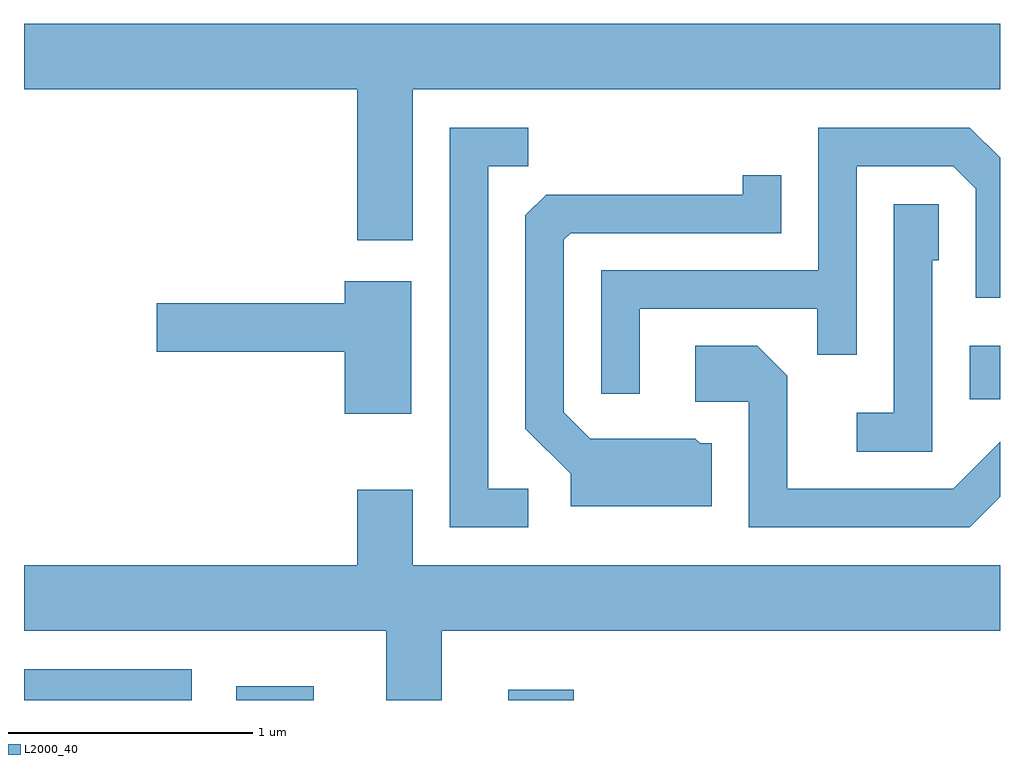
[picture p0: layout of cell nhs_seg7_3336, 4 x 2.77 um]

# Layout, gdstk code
import gdstk
lib = gdstk.Library(unit=1e-6, precision=1e-09)
def R(c, l, rs):  # rectangles x0, y0, x1, y1
    for r in rs: c.add(gdstk.rectangle(r[:2], r[2:], *l))
def P(c, l, *ps):  # polygons
    for p in ps: c.add(gdstk.Polygon(p, *l))
L2000_40 = (2000, 40)

nhs_seg7_3336 = lib.new_cell('nhs_seg7_3336')
R(nhs_seg7_3336, L2000_40, [(287.611,1716.252,288.299,1716.379), (288.481,1716.252,288.798,1716.309), (289.596,1716.252,289.864,1716.294), (291.486,1717.486,291.611,1717.704)])
P(nhs_seg7_3336, L2000_40, [(289.204,1718.756),(291.611,1718.756),(291.611,1719.024),(287.611,1719.024),(287.611,1718.756),(288.976,1718.756),(288.976,1718.136),(289.204,1718.136)],
  [(290.134,1717.856),(290.861,1717.856),(290.861,1717.668),(291.024,1717.668),(291.024,1718.441),(291.419,1718.441),(291.511,1718.349),(291.511,1717.901),(291.611,1717.901),(291.611,1718.475),(291.487,1718.599),(290.866,1718.599),(290.866,1718.014),(289.976,1718.014),(289.976,1717.508),(290.134,1717.508)],
  [(289.678,1717.119),(289.514,1717.119),(289.514,1718.441),(289.678,1718.441),(289.678,1718.599),(289.356,1718.599),(289.356,1716.961),(289.678,1716.961)],
  [(290.429,1717.304),(290.382,1717.304),(290.362,1717.324),(289.932,1717.324),(289.824,1717.432),(289.824,1718.139),(289.852,1718.166),(290.714,1718.166),(290.714,1718.403),(290.556,1718.403),(290.556,1718.324),(289.752,1718.324),(289.666,1718.239),(289.666,1717.364),(289.851,1717.179),(289.851,1717.046),(290.429,1717.046)],
  [(291.334,1718.056),(291.359,1718.056),(291.359,1718.284),(291.176,1718.284),(291.176,1717.429),(291.023,1717.429),(291.023,1717.271),(291.334,1717.271)],
  [(289.199,1717.969),(288.926,1717.969),(288.926,1717.879),(288.156,1717.879),(288.156,1717.681),(288.926,1717.681),(288.926,1717.426),(289.199,1717.426)],
  [(291.611,1717.085),(291.611,1717.311),(291.419,1717.119),(290.739,1717.119),(290.739,1717.582),(290.617,1717.704),(290.361,1717.704),(290.361,1717.476),(290.581,1717.476),(290.581,1716.961),(291.487,1716.961)],
  [(289.324,1716.536),(291.611,1716.536),(291.611,1716.804),(289.204,1716.804),(289.204,1717.114),(288.976,1717.114),(288.976,1716.804),(287.611,1716.804),(287.611,1716.536),(289.096,1716.536),(289.096,1716.252),(289.324,1716.252)])

lib.write_gds('nhs_seg7_3336.gds')
